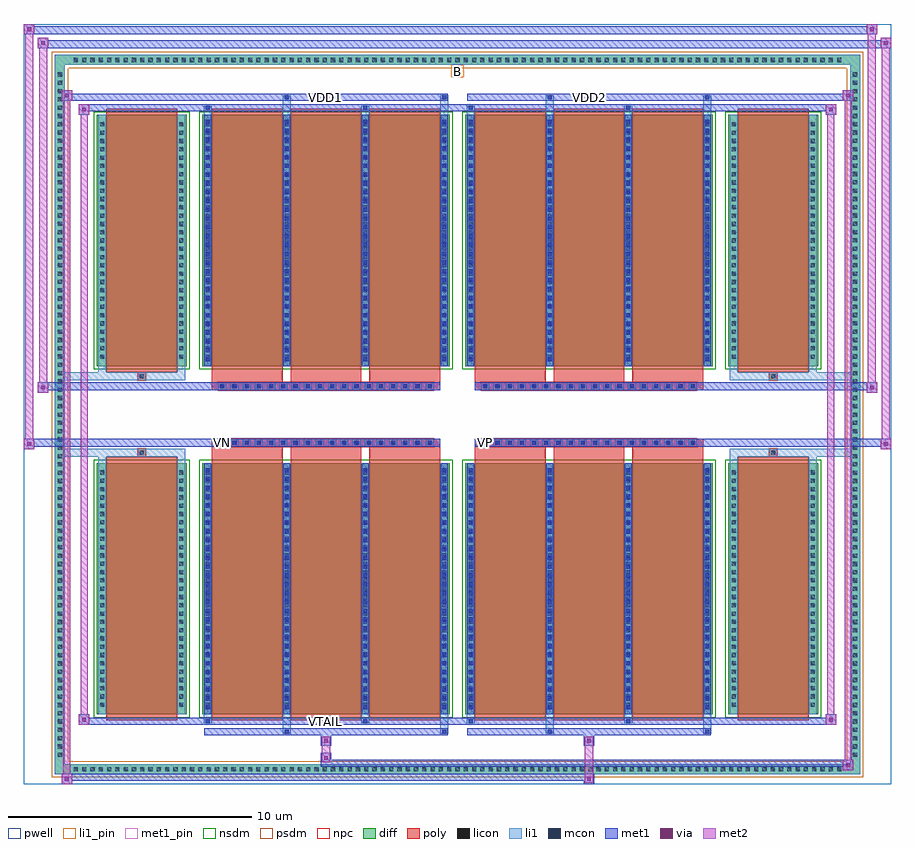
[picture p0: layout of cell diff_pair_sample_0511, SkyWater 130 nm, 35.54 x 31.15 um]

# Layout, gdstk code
import gdstk
lib = gdstk.Library(unit=1e-6, precision=5e-09)
def R(c, l, rs):  # rectangles x0, y0, x1, y1
    for r in rs: c.add(gdstk.rectangle(r[:2], r[2:], *l))
def A(c, l, x, y, w, h, nx, ny, dx, dy):  # array of equal rectangles
    R(c, l, [(x+i*dx, y+j*dy, x+i*dx+w, y+j*dy+h) for i in range(nx) for j in range(ny)])
def P(c, l, *ps):  # polygons
    for p in ps: c.add(gdstk.Polygon(p, *l))
pwell = (64, 44)
diff = (65, 20)
poly = (66, 20)
licon = (66, 44)
li1_pin = (67, 16)
li1 = (67, 20)
mcon = (67, 44)
met1_pin = (68, 16)
met1 = (68, 20)
via = (68, 44)
met2 = (69, 20)
nsdm = (93, 44)
psdm = (94, 20)
npc = (95, 20)

diff_pair_sample_0511 = lib.new_cell('diff_pair_sample_0511')
R(diff_pair_sample_0511, pwell, [(-17.77,-15.14,17.77,16.01), (-15.09,-13.33,-0.01,-0.795), (0.01,-13.33,15.09,-0.795), (-15.09,0.795,-0.01,13.33), (0.01,0.795,15.09,13.33)])
A(diff_pair_sample_0511, diff, -15.845, -14.74, 0.41, 0.41, 93, 2, 0.34, 29.07)
A(diff_pair_sample_0511, diff, -16.5, -14.145, 0.41, 0.41, 1, 83, 0, 0.34)
A(diff_pair_sample_0511, diff, 16.09, -14.145, 0.41, 0.41, 1, 83, 0, 0.34)
R(diff_pair_sample_0511, diff, [(-15.845,-14.74,15.845,-14.33), (-16.5,-14.145,-16.09,14.145), (16.09,-14.145,16.5,14.145), (-14.78,-12.285,-11.1,-1.985), (-10.46,-12.285,-0.32,-1.985), (0.32,-12.285,10.46,-1.985), (11.1,-12.285,14.78,-1.985), (-14.78,1.985,-11.1,12.285), (-10.46,1.985,-0.32,12.285), (0.32,1.985,10.46,12.285), (11.1,1.985,14.78,12.285), (-15.845,14.33,15.845,14.74)])
P(diff_pair_sample_0511, diff, [(16.5,14.74),(-16.5,14.74),(-16.5,-14.33),(-16.09,-14.33),(-16.09,14.33),(16.09,14.33),(16.09,-14.33),(-16.09,-14.33),(-16.5,-14.33),(-16.5,-14.74),(16.5,-14.74)])
A(diff_pair_sample_0511, poly, -10.07, -12.535, 2.9, 10.8, 3, 2, 3.23, 14.27)
A(diff_pair_sample_0511, poly, 0.71, -12.535, 2.9, 10.8, 3, 2, 3.23, 14.27)
A(diff_pair_sample_0511, poly, -10.07, -1.735, 2.9, 0.41, 3, 2, 3.23, 3.06)
A(diff_pair_sample_0511, poly, 0.71, -1.735, 2.9, 0.41, 3, 2, 3.23, 3.06)
A(diff_pair_sample_0511, poly, -9.805, -1.325, 0.33, 0.33, 18, 2, 0.5, 2.32)
A(diff_pair_sample_0511, poly, 0.975, -1.325, 0.33, 0.33, 18, 2, 0.5, 2.32)
R(diff_pair_sample_0511, poly, [(-14.39,-12.535,-11.49,-1.735), (11.49,-12.535,14.39,-1.735), (-13.105,-1.735,-12.775,-1.405), (-13.105,-1.735,-12.775,-1.405), (12.775,-1.735,13.105,-1.405), (12.775,-1.735,13.105,-1.405), (-10.07,-1.325,-0.71,-0.995), (0.71,-1.325,10.07,-0.995), (-10.07,0.995,-0.71,1.325), (0.71,0.995,10.07,1.325), (-13.105,1.405,-12.775,1.735), (-13.105,1.405,-12.775,1.735), (12.775,1.405,13.105,1.735), (12.775,1.405,13.105,1.735), (-14.39,1.735,-11.49,12.535), (11.49,1.735,14.39,12.535)])
A(diff_pair_sample_0511, licon, -15.725, -14.62, 0.17, 0.17, 93, 2, 0.34, 29.07)
A(diff_pair_sample_0511, licon, -16.38, -14.025, 0.17, 0.17, 1, 83, 0, 0.34)
A(diff_pair_sample_0511, licon, 16.21, -14.025, 0.17, 0.17, 1, 83, 0, 0.34)
A(diff_pair_sample_0511, licon, -14.64, -11.98, 0.17, 0.17, 1, 29, 0, 0.34)
A(diff_pair_sample_0511, licon, -11.41, -11.98, 0.17, 0.17, 1, 29, 0, 0.34)
A(diff_pair_sample_0511, licon, -10.32, -11.98, 0.17, 0.17, 4, 29, 3.23, 0.34)
A(diff_pair_sample_0511, licon, 0.46, -11.98, 0.17, 0.17, 4, 29, 3.23, 0.34)
A(diff_pair_sample_0511, licon, 11.24, -11.98, 0.17, 0.17, 1, 29, 0, 0.34)
A(diff_pair_sample_0511, licon, 14.47, -11.98, 0.17, 0.17, 1, 29, 0, 0.34)
A(diff_pair_sample_0511, licon, -9.725, -1.245, 0.17, 0.17, 18, 2, 0.5, 2.32)
A(diff_pair_sample_0511, licon, 1.055, -1.245, 0.17, 0.17, 18, 2, 0.5, 2.32)
A(diff_pair_sample_0511, licon, -14.64, 2.29, 0.17, 0.17, 1, 29, 0, 0.34)
A(diff_pair_sample_0511, licon, -11.41, 2.29, 0.17, 0.17, 1, 29, 0, 0.34)
A(diff_pair_sample_0511, licon, -10.32, 2.29, 0.17, 0.17, 4, 29, 3.23, 0.34)
A(diff_pair_sample_0511, licon, 0.46, 2.29, 0.17, 0.17, 4, 29, 3.23, 0.34)
A(diff_pair_sample_0511, licon, 11.24, 2.29, 0.17, 0.17, 1, 29, 0, 0.34)
A(diff_pair_sample_0511, licon, 14.47, 2.29, 0.17, 0.17, 1, 29, 0, 0.34)
R(diff_pair_sample_0511, licon, [(-13.025,-1.655,-12.855,-1.485), (12.855,-1.655,13.025,-1.485), (-13.025,1.485,-12.855,1.655), (12.855,1.485,13.025,1.655)])
R(diff_pair_sample_0511, li1_pin, [(-0.25,13.83,0.25,14.33)])
A(diff_pair_sample_0511, li1, -15.805, -14.7, 0.33, 0.33, 93, 2, 0.34, 29.07)
A(diff_pair_sample_0511, li1, -16.46, -14.105, 0.33, 0.33, 1, 83, 0, 0.34)
A(diff_pair_sample_0511, li1, 16.13, -14.105, 0.33, 0.33, 1, 83, 0, 0.34)
A(diff_pair_sample_0511, li1, -10.4, -12.285, 0.33, 10.3, 4, 2, 3.23, 14.27)
A(diff_pair_sample_0511, li1, 0.38, -12.285, 0.33, 10.3, 4, 2, 3.23, 14.27)
A(diff_pair_sample_0511, li1, -10.32, -12.08, 0.17, 0.17, 4, 28, 3.23, 0.36)
A(diff_pair_sample_0511, li1, -10.32, -12.08, 0.17, 9.89, 4, 2, 3.23, 14.27)
A(diff_pair_sample_0511, li1, 0.46, -12.08, 0.17, 0.17, 4, 28, 3.23, 0.36)
A(diff_pair_sample_0511, li1, 0.46, -12.08, 0.17, 9.89, 4, 2, 3.23, 14.27)
A(diff_pair_sample_0511, li1, -14.72, -12.06, 0.33, 0.33, 1, 29, 0, 0.34)
A(diff_pair_sample_0511, li1, -11.49, -12.06, 0.33, 0.33, 1, 29, 0, 0.34)
A(diff_pair_sample_0511, li1, -10.4, -12.06, 0.33, 0.33, 4, 29, 3.23, 0.34)
A(diff_pair_sample_0511, li1, 0.38, -12.06, 0.33, 0.33, 4, 29, 3.23, 0.34)
A(diff_pair_sample_0511, li1, 11.16, -12.06, 0.33, 0.33, 1, 29, 0, 0.34)
A(diff_pair_sample_0511, li1, 14.39, -12.06, 0.33, 0.33, 1, 29, 0, 0.34)
A(diff_pair_sample_0511, li1, -9.805, -1.325, 0.33, 0.33, 18, 2, 0.5, 2.32)
A(diff_pair_sample_0511, li1, 0.975, -1.325, 0.33, 0.33, 18, 2, 0.5, 2.32)
A(diff_pair_sample_0511, li1, -10.32, 2.19, 0.17, 0.17, 4, 28, 3.23, 0.36)
A(diff_pair_sample_0511, li1, 0.46, 2.19, 0.17, 0.17, 4, 28, 3.23, 0.36)
A(diff_pair_sample_0511, li1, -14.72, 2.21, 0.33, 0.33, 1, 29, 0, 0.34)
A(diff_pair_sample_0511, li1, -11.49, 2.21, 0.33, 0.33, 1, 29, 0, 0.34)
A(diff_pair_sample_0511, li1, -10.4, 2.21, 0.33, 0.33, 4, 29, 3.23, 0.34)
A(diff_pair_sample_0511, li1, 0.38, 2.21, 0.33, 0.33, 4, 29, 3.23, 0.34)
A(diff_pair_sample_0511, li1, 11.16, 2.21, 0.33, 0.33, 1, 29, 0, 0.34)
A(diff_pair_sample_0511, li1, 14.39, 2.21, 0.33, 0.33, 1, 29, 0, 0.34)
R(diff_pair_sample_0511, li1, [(-16.5,-14.74,-16.09,-14.33), (-16.5,-14.74,-16.09,-14.33), (-16.09,-14.74,16.09,-14.33), (16.09,-14.74,16.5,-14.33), (16.09,-14.74,16.5,-14.33), (-16.5,-14.33,-16.09,14.33), (16.09,-14.33,16.5,14.33), (-7.17,-13.09,-6.84,-12.285), (-7.09,-13.09,-6.92,-12.92), (-0.71,-13.09,-0.38,-12.285), (-0.63,-13.09,-0.46,-12.92), (3.61,-13.09,3.94,-12.285), (3.69,-13.09,3.86,-12.92), (10.07,-13.09,10.4,-12.285), (10.15,-13.09,10.32,-12.92), (-10.4,-12.66,-10.07,-12.285), (-10.32,-12.66,-10.15,-12.49), (-3.94,-12.66,-3.61,-12.285), (-3.86,-12.66,-3.69,-12.49), (0.38,-12.66,0.71,-12.285), (0.46,-12.66,0.63,-12.49), (6.84,-12.66,7.17,-12.285), (6.92,-12.66,7.09,-12.49), (-14.72,-12.285,-14.39,-1.985), (-11.49,-12.285,-11.16,-1.985), (11.16,-12.285,11.49,-1.985), (14.39,-12.285,14.72,-1.985), (-14.72,-1.985,-14.39,-1.405), (-11.49,-1.985,-11.16,-1.405), (11.16,-1.985,11.49,-1.405), (14.39,-1.985,14.72,-1.405), (-16.5,-1.735,-13.105,-1.405), (-14.72,-1.735,-13.105,-1.405), (-13.105,-1.735,-12.775,-1.405), (-12.775,-1.735,-11.16,-1.405), (11.16,-1.735,12.775,-1.405), (12.775,-1.735,13.105,-1.405), (12.775,-1.735,16.5,-1.405), (13.105,-1.735,14.72,-1.405), (-16.5,1.405,-13.105,1.735), (-14.72,1.405,-13.105,1.735), (-14.72,1.405,-14.39,1.985), (-13.105,1.405,-12.775,1.735), (-12.775,1.405,-11.16,1.735), (-11.49,1.405,-11.16,1.985), (11.16,1.405,12.775,1.735), (11.16,1.405,11.49,1.985), (12.775,1.405,13.105,1.735), (12.775,1.405,16.5,1.735), (13.105,1.405,14.72,1.735), (14.39,1.405,14.72,1.985), (-14.72,1.985,-14.39,12.285), (-11.49,1.985,-11.16,12.285), (11.16,1.985,11.49,12.285), (14.39,1.985,14.72,12.285), (-10.4,12.285,-10.07,12.66), (-7.17,12.285,-6.84,13.09), (-3.94,12.285,-3.61,12.66), (-0.71,12.285,-0.38,13.09), (0.38,12.285,0.71,12.66), (3.61,12.285,3.94,13.09), (6.84,12.285,7.17,12.66), (10.07,12.285,10.4,13.09), (-10.32,12.49,-10.15,12.66), (-3.86,12.49,-3.69,12.66), (0.46,12.49,0.63,12.66), (6.92,12.49,7.09,12.66), (-7.09,12.92,-6.92,13.09), (-0.63,12.92,-0.46,13.09), (3.69,12.92,3.86,13.09), (10.15,12.92,10.32,13.09), (-16.5,14.33,-16.09,14.74), (-16.5,14.33,-16.09,14.74), (-16.09,14.33,16.09,14.74), (16.09,14.33,16.5,14.74), (16.09,14.33,16.5,14.74)])
A(diff_pair_sample_0511, mcon, -10.32, -12.08, 0.17, 0.17, 4, 28, 3.23, 0.36)
A(diff_pair_sample_0511, mcon, 0.46, -12.08, 0.17, 0.17, 4, 28, 3.23, 0.36)
A(diff_pair_sample_0511, mcon, -9.725, -1.245, 0.17, 0.17, 18, 2, 0.5, 2.32)
A(diff_pair_sample_0511, mcon, 1.055, -1.245, 0.17, 0.17, 18, 2, 0.5, 2.32)
A(diff_pair_sample_0511, mcon, -10.32, 2.19, 0.17, 0.17, 4, 28, 3.23, 0.36)
A(diff_pair_sample_0511, mcon, 0.46, 2.19, 0.17, 0.17, 4, 28, 3.23, 0.36)
R(diff_pair_sample_0511, mcon, [(-7.09,-13.09,-6.92,-12.92), (-0.63,-13.09,-0.46,-12.92), (3.69,-13.09,3.86,-12.92), (10.15,-13.09,10.32,-12.92), (-10.32,-12.66,-10.15,-12.49), (-3.86,-12.66,-3.69,-12.49), (0.46,-12.66,0.63,-12.49), (6.92,-12.66,7.09,-12.49), (-10.32,12.49,-10.15,12.66), (-3.86,12.49,-3.69,12.66), (0.46,12.49,0.63,12.66), (6.92,12.49,7.09,12.66), (-7.09,12.92,-6.92,13.09), (-0.63,12.92,-0.46,13.09), (3.69,12.92,3.86,13.09), (10.15,12.92,10.32,13.09)])
R(diff_pair_sample_0511, met1_pin, [(-5.525,-12.7,-5.255,-12.43), (-9.775,-1.285,-9.505,-1.015), (1.005,-1.285,1.275,-1.015), (-5.525,12.88,-5.255,13.15), (5.255,12.88,5.525,13.15)])
A(diff_pair_sample_0511, met1, -10.38, -12.285, 0.29, 10.3, 4, 2, 3.23, 14.27)
A(diff_pair_sample_0511, met1, 0.4, -12.285, 0.29, 10.3, 4, 2, 3.23, 14.27)
A(diff_pair_sample_0511, met1, -10.38, -12.14, 0.29, 0.29, 4, 28, 3.23, 0.36)
A(diff_pair_sample_0511, met1, 0.4, -12.14, 0.29, 0.29, 4, 28, 3.23, 0.36)
A(diff_pair_sample_0511, met1, -9.785, -1.305, 0.29, 0.29, 18, 2, 0.5, 2.32)
A(diff_pair_sample_0511, met1, 0.995, -1.305, 0.29, 0.29, 18, 2, 0.5, 2.32)
A(diff_pair_sample_0511, met1, -10.38, 2.13, 0.29, 0.29, 4, 28, 3.23, 0.36)
A(diff_pair_sample_0511, met1, 0.4, 2.13, 0.29, 0.29, 4, 28, 3.23, 0.36)
R(diff_pair_sample_0511, met1, [(-16.23,-15.14,-15.8,-14.71), (5.175,-15.14,5.605,-14.71), (-16.23,-15,5.605,-14.71), (15.8,-14.57,16.23,-14.14), (-5.605,-14.43,16.23,-14.14), (-5.605,-14.29,-5.175,-13.86), (-5.605,-13.58,-5.175,-13.15), (5.175,-13.58,5.605,-13.15), (-10.38,-13.15,-0.4,-12.86), (-7.15,-13.15,-6.86,-12.86), (-0.69,-13.15,-0.4,-12.86), (0.4,-13.15,10.38,-12.86), (3.63,-13.15,3.92,-12.86), (10.09,-13.15,10.38,-12.86), (-15.52,-12.72,-15.09,-12.29), (-15.52,-12.72,-10.38,-12.43), (-10.38,-12.72,-10.09,-12.43), (-10.38,-12.72,-0.4,-12.43), (-3.92,-12.72,-3.63,-12.43), (-0.4,-12.72,0.4,-12.43), (0.4,-12.72,0.69,-12.43), (0.4,-12.72,10.38,-12.43), (6.86,-12.72,7.15,-12.43), (10.38,-12.72,15.52,-12.43), (15.09,-12.72,15.52,-12.29), (-17.77,-1.425,-17.34,-0.995), (17.34,-1.425,17.77,-0.995), (-17.77,-1.325,-0.71,-0.995), (-10.07,-1.325,-0.71,-0.995), (0.71,-1.325,10.07,-0.995), (0.71,-1.325,17.77,-0.995), (-17.2,0.895,-16.77,1.325), (16.77,0.895,17.2,1.325), (-17.2,0.995,-10.07,1.325), (-10.07,0.995,-0.71,1.325), (0.71,0.995,10.07,1.325), (10.07,0.995,17.2,1.325), (-15.52,12.29,-15.09,12.72), (15.09,12.29,15.52,12.72), (-15.52,12.43,-10.38,12.72), (-10.38,12.43,-10.09,12.72), (-10.38,12.43,-0.4,12.72), (-3.92,12.43,-3.63,12.72), (-0.4,12.43,0.4,12.72), (0.4,12.43,0.69,12.72), (0.4,12.43,10.38,12.72), (6.86,12.43,7.15,12.72), (10.38,12.43,15.52,12.72), (-16.23,12.86,-15.8,13.29), (-16.23,12.86,-10.38,13.15), (-10.38,12.86,-0.4,13.15), (-7.15,12.86,-6.86,13.15), (-0.69,12.86,-0.4,13.15), (0.4,12.86,10.38,13.15), (3.63,12.86,3.92,13.15), (10.09,12.86,10.38,13.15), (10.38,12.86,16.23,13.15), (15.8,12.86,16.23,13.29), (-17.2,15.01,-16.77,15.44), (-17.2,15.01,-15.09,15.34), (-15.09,15.01,15.09,15.34), (15.09,15.01,17.77,15.34), (17.34,15.01,17.77,15.44), (-17.77,15.58,-17.34,16.01), (-17.77,15.58,-15.09,15.91), (-15.09,15.58,15.09,15.91), (15.09,15.58,17.2,15.91), (16.77,15.58,17.2,16.01)])
R(diff_pair_sample_0511, via, [(-16.09,-15,-15.94,-14.85), (5.315,-15,5.465,-14.85), (15.94,-14.43,16.09,-14.28), (-5.465,-14.15,-5.315,-14), (-5.465,-13.44,-5.315,-13.29), (5.315,-13.44,5.465,-13.29), (-15.38,-12.58,-15.23,-12.43), (15.23,-12.58,15.38,-12.43), (-17.63,-1.285,-17.48,-1.135), (17.48,-1.285,17.63,-1.135), (-17.06,1.035,-16.91,1.185), (16.91,1.035,17.06,1.185), (-15.38,12.43,-15.23,12.58), (15.23,12.43,15.38,12.58), (-16.09,13,-15.94,13.15), (15.94,13,16.09,13.15), (-17.06,15.15,-16.91,15.3), (17.48,15.15,17.63,15.3), (-17.63,15.72,-17.48,15.87), (16.91,15.72,17.06,15.87)])
R(diff_pair_sample_0511, met2, [(-16.23,-15.14,-15.8,-14.71), (-16.16,-15.14,-15.87,13.29), (-15.87,-15.14,-15.8,-14.71), (-16.18,-15.09,-15.85,-14.76), (5.225,-15.09,5.555,-14.76), (5.225,-14.76,5.555,-13.53), (15.8,-14.57,16.23,-14.14), (15.87,-14.57,16.16,13.29), (16.16,-14.57,16.23,-14.14), (15.85,-14.52,16.18,-14.19), (-5.555,-14.24,-5.225,-13.91), (-5.555,-13.91,-5.225,-13.53), (-5.555,-13.53,-5.225,-13.2), (5.225,-13.53,5.555,-13.2), (-15.52,-12.72,-15.09,-12.29), (-15.45,-12.72,-15.16,12.72), (-15.16,-12.72,-15.09,-12.29), (15.09,-12.72,15.52,-12.29), (15.16,-12.72,15.45,12.72), (15.45,-12.72,15.52,-12.29), (-15.47,-12.67,-15.14,-12.34), (15.14,-12.67,15.47,-12.34), (-17.77,-1.425,-17.34,-0.995), (-17.72,-1.425,-17.39,16.01), (-17.39,-1.425,-17.34,-0.995), (17.34,-1.425,17.77,-0.995), (17.39,-1.425,17.72,15.44), (17.72,-1.425,17.77,-0.995), (-17.72,-1.375,-17.39,-1.045), (17.39,-1.375,17.72,-1.045), (-17.2,0.895,-16.77,1.325), (-17.15,0.895,-16.82,15.44), (-16.82,0.895,-16.77,1.325), (16.77,0.895,17.2,1.325), (16.82,0.895,17.15,16.01), (17.15,0.895,17.2,1.325), (-17.15,0.945,-16.82,1.275), (16.82,0.945,17.15,1.275), (-15.52,12.29,-15.09,12.72), (-15.16,12.29,-15.09,12.72), (15.09,12.29,15.52,12.72), (15.45,12.29,15.52,12.72), (-15.47,12.34,-15.14,12.67), (15.14,12.34,15.47,12.67), (-16.23,12.86,-15.8,13.29), (-15.87,12.86,-15.8,13.29), (15.8,12.86,16.23,13.29), (16.16,12.86,16.23,13.29), (-16.18,12.91,-15.85,13.24), (15.85,12.91,16.18,13.24), (-17.2,15.01,-16.77,15.44), (-16.82,15.01,-16.77,15.44), (17.34,15.01,17.77,15.44), (17.72,15.01,17.77,15.44), (-17.15,15.06,-16.82,15.39), (17.39,15.06,17.72,15.39), (-17.77,15.58,-17.34,16.01), (-17.39,15.58,-17.34,16.01), (16.77,15.58,17.2,16.01), (17.15,15.58,17.2,16.01), (-17.72,15.63,-17.39,15.96), (16.82,15.63,17.15,15.96)])
R(diff_pair_sample_0511, nsdm, [(-14.91,-12.415,-10.97,-1.855), (-10.59,-12.415,-0.19,-1.855), (0.19,-12.415,10.59,-1.855), (10.97,-12.415,14.91,-1.855), (-14.91,1.855,-10.97,12.415), (-10.59,1.855,-0.19,12.415), (0.19,1.855,10.59,12.415), (10.97,1.855,14.91,12.415)])
P(diff_pair_sample_0511, psdm, [(16.63,14.87),(-16.63,14.87),(-16.63,-14.2),(-15.96,-14.2),(-15.96,14.2),(15.96,14.2),(15.96,-14.2),(-15.96,-14.2),(-16.63,-14.2),(-16.63,-14.87),(16.63,-14.87)])
A(diff_pair_sample_0511, npc, -9.825, -1.345, 0.37, 0.37, 18, 2, 0.5, 2.32)
A(diff_pair_sample_0511, npc, 0.955, -1.345, 0.37, 0.37, 18, 2, 0.5, 2.32)
R(diff_pair_sample_0511, npc, [(-13.125,-1.755,-12.755,-1.385), (12.755,-1.755,13.125,-1.385), (-9.825,-1.345,-8.955,-0.975), (-9.825,-1.345,-8.955,-0.975), (-9.325,-1.345,-8.455,-0.975), (-9.325,-1.345,-8.455,-0.975), (-8.825,-1.345,-7.955,-0.975), (-8.825,-1.345,-7.955,-0.975), (-8.325,-1.345,-7.455,-0.975), (-8.325,-1.345,-7.455,-0.975), (-7.825,-1.345,-6.955,-0.975), (-7.825,-1.345,-6.955,-0.975), (-7.325,-1.345,-6.455,-0.975), (-7.325,-1.345,-6.455,-0.975), (-6.825,-1.345,-5.955,-0.975), (-6.825,-1.345,-5.955,-0.975), (-6.325,-1.345,-5.455,-0.975), (-6.325,-1.345,-5.455,-0.975), (-5.825,-1.345,-4.955,-0.975), (-5.825,-1.345,-4.955,-0.975), (-5.325,-1.345,-4.455,-0.975), (-5.325,-1.345,-4.455,-0.975), (-4.825,-1.345,-3.955,-0.975), (-4.825,-1.345,-3.955,-0.975), (-4.325,-1.345,-3.455,-0.975), (-4.325,-1.345,-3.455,-0.975), (-3.825,-1.345,-2.955,-0.975), (-3.825,-1.345,-2.955,-0.975), (-3.325,-1.345,-2.455,-0.975), (-3.325,-1.345,-2.455,-0.975), (-2.825,-1.345,-1.955,-0.975), (-2.825,-1.345,-1.955,-0.975), (-2.325,-1.345,-1.455,-0.975), (-2.325,-1.345,-1.455,-0.975), (-1.825,-1.345,-0.955,-0.975), (-1.825,-1.345,-0.955,-0.975), (0.955,-1.345,1.825,-0.975), (0.955,-1.345,1.825,-0.975), (1.455,-1.345,2.325,-0.975), (1.455,-1.345,2.325,-0.975), (1.955,-1.345,2.825,-0.975), (1.955,-1.345,2.825,-0.975), (2.455,-1.345,3.325,-0.975), (2.455,-1.345,3.325,-0.975), (2.955,-1.345,3.825,-0.975), (2.955,-1.345,3.825,-0.975), (3.455,-1.345,4.325,-0.975), (3.455,-1.345,4.325,-0.975), (3.955,-1.345,4.825,-0.975), (3.955,-1.345,4.825,-0.975), (4.455,-1.345,5.325,-0.975), (4.455,-1.345,5.325,-0.975), (4.955,-1.345,5.825,-0.975), (4.955,-1.345,5.825,-0.975), (5.455,-1.345,6.325,-0.975), (5.455,-1.345,6.325,-0.975), (5.955,-1.345,6.825,-0.975), (5.955,-1.345,6.825,-0.975), (6.455,-1.345,7.325,-0.975), (6.455,-1.345,7.325,-0.975), (6.955,-1.345,7.825,-0.975), (6.955,-1.345,7.825,-0.975), (7.455,-1.345,8.325,-0.975), (7.455,-1.345,8.325,-0.975), (7.955,-1.345,8.825,-0.975), (7.955,-1.345,8.825,-0.975), (8.455,-1.345,9.325,-0.975), (8.455,-1.345,9.325,-0.975), (8.955,-1.345,9.825,-0.975), (8.955,-1.345,9.825,-0.975), (-9.825,0.975,-8.955,1.345), (-9.825,0.975,-8.955,1.345), (-9.325,0.975,-8.455,1.345), (-9.325,0.975,-8.455,1.345), (-8.825,0.975,-7.955,1.345), (-8.825,0.975,-7.955,1.345), (-8.325,0.975,-7.455,1.345), (-8.325,0.975,-7.455,1.345), (-7.825,0.975,-6.955,1.345), (-7.825,0.975,-6.955,1.345), (-7.325,0.975,-6.455,1.345), (-7.325,0.975,-6.455,1.345), (-6.825,0.975,-5.955,1.345), (-6.825,0.975,-5.955,1.345), (-6.325,0.975,-5.455,1.345), (-6.325,0.975,-5.455,1.345), (-5.825,0.975,-4.955,1.345), (-5.825,0.975,-4.955,1.345), (-5.325,0.975,-4.455,1.345), (-5.325,0.975,-4.455,1.345), (-4.825,0.975,-3.955,1.345), (-4.825,0.975,-3.955,1.345), (-4.325,0.975,-3.455,1.345), (-4.325,0.975,-3.455,1.345), (-3.825,0.975,-2.955,1.345), (-3.825,0.975,-2.955,1.345), (-3.325,0.975,-2.455,1.345), (-3.325,0.975,-2.455,1.345), (-2.825,0.975,-1.955,1.345), (-2.825,0.975,-1.955,1.345), (-2.325,0.975,-1.455,1.345), (-2.325,0.975,-1.455,1.345), (-1.825,0.975,-0.955,1.345), (-1.825,0.975,-0.955,1.345), (0.955,0.975,1.825,1.345), (0.955,0.975,1.825,1.345), (1.455,0.975,2.325,1.345), (1.455,0.975,2.325,1.345), (1.955,0.975,2.825,1.345), (1.955,0.975,2.825,1.345), (2.455,0.975,3.325,1.345), (2.455,0.975,3.325,1.345), (2.955,0.975,3.825,1.345), (2.955,0.975,3.825,1.345), (3.455,0.975,4.325,1.345), (3.455,0.975,4.325,1.345), (3.955,0.975,4.825,1.345), (3.955,0.975,4.825,1.345), (4.455,0.975,5.325,1.345), (4.455,0.975,5.325,1.345), (4.955,0.975,5.825,1.345), (4.955,0.975,5.825,1.345), (5.455,0.975,6.325,1.345), (5.455,0.975,6.325,1.345), (5.955,0.975,6.825,1.345), (5.955,0.975,6.825,1.345), (6.455,0.975,7.325,1.345), (6.455,0.975,7.325,1.345), (6.955,0.975,7.825,1.345), (6.955,0.975,7.825,1.345), (7.455,0.975,8.325,1.345), (7.455,0.975,8.325,1.345), (7.955,0.975,8.825,1.345), (7.955,0.975,8.825,1.345), (8.455,0.975,9.325,1.345), (8.455,0.975,9.325,1.345), (8.955,0.975,9.825,1.345), (8.955,0.975,9.825,1.345), (-13.125,1.385,-12.755,1.755), (12.755,1.385,13.125,1.755)])
diff_pair_sample_0511.add(gdstk.Label('VTAIL', (-5.39,-12.565), layer=68, texttype=5))
diff_pair_sample_0511.add(gdstk.Label('VN', (-9.64,-1.15), layer=68, texttype=5))
diff_pair_sample_0511.add(gdstk.Label('VP', (1.14,-1.15), layer=68, texttype=5))
diff_pair_sample_0511.add(gdstk.Label('B', (0,14.08), layer=67, texttype=5))
diff_pair_sample_0511.add(gdstk.Label('VDD2', (5.39,13.015), layer=68, texttype=5))
diff_pair_sample_0511.add(gdstk.Label('VDD1', (-5.39,13.015), layer=68, texttype=5))

lib.write_gds('diff_pair_sample_0511.gds')
